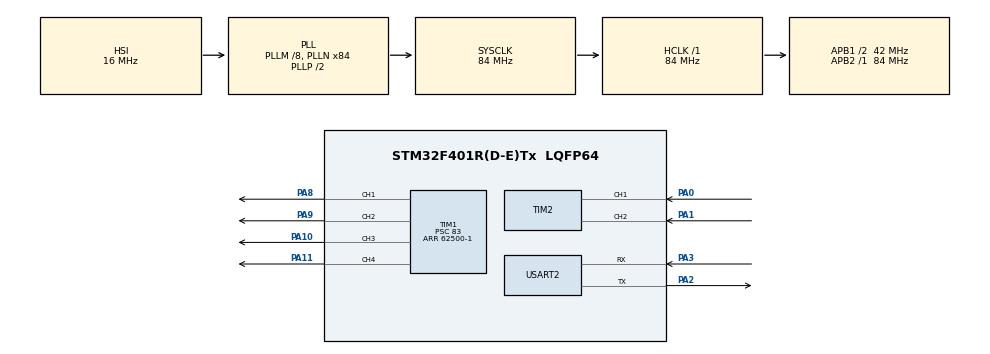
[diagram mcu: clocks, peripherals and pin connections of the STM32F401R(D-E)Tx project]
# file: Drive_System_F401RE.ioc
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Dma.Request0=USART2_RX
Dma.USART2_RX.0.Direction=DMA_PERIPH_TO_MEMORY
Dma.USART2_RX.0.FIFOMode=DMA_FIFOMODE_DISABLE
Dma.USART2_RX.0.Instance=DMA1_Stream5
Dma.USART2_RX.0.MemDataAlignment=DMA_MDATAALIGN_BYTE
Dma.USART2_RX.0.MemInc=DMA_MINC_ENABLE
Dma.USART2_RX.0.Mode=DMA_CIRCULAR
Dma.USART2_RX.0.PeriphDataAlignment=DMA_PDATAALIGN_BYTE
Dma.USART2_RX.0.PeriphInc=DMA_PINC_DISABLE
Dma.USART2_RX.0.Priority=DMA_PRIORITY_HIGH
Mcu.Family=STM32F4
Mcu.Name=STM32F401R(D-E)Tx
Mcu.Package=LQFP64
NVIC.DMA1_Stream5_IRQn=true\:0\:0\:false\:false\:true\:false\:true\:true
NVIC.PriorityGroup=NVIC_PRIORITYGROUP_4
NVIC.TIM2_IRQn=true\:0\:0\:false\:false\:true\:true\:true\:true
PA0-WKUP.Signal=S_TIM2_CH1_ETR
PA1.Signal=S_TIM2_CH2
PA10.Signal=S_TIM1_CH3
PA11.Signal=S_TIM1_CH4
PA2.Mode=Asynchronous
PA2.Signal=USART2_TX
PA3.Mode=Asynchronous
PA3.Signal=USART2_RX
PA8.Signal=S_TIM1_CH1
PA9.Signal=S_TIM1_CH2
ProjectManager.HeapSize=0x200
ProjectManager.StackSize=0x400
ProjectManager.TargetToolchain=STM32CubeIDE
RCC.48MHZClocksFreq_Value=42000000
RCC.AHBFreq_Value=84000000
RCC.APB1CLKDivider=RCC_HCLK_DIV2
RCC.APB1Freq_Value=42000000
RCC.APB1TimFreq_Value=84000000
RCC.APB2Freq_Value=84000000
RCC.APB2TimFreq_Value=84000000
RCC.CortexFreq_Value=84000000
RCC.HCLKFreq_Value=84000000
RCC.HSE_VALUE=25000000
RCC.HSI_VALUE=16000000
RCC.LSE_VALUE=32768
RCC.PLLM=8
RCC.PLLN=84
RCC.SYSCLKFreq_VALUE=84000000
RCC.SYSCLKSource=RCC_SYSCLKSOURCE_PLLCLK
RCC.VCOOutputFreq_Value=168000000
SH.S_TIM1_CH1.0=TIM1_CH1,PWM Generation1 CH1
SH.S_TIM1_CH2.0=TIM1_CH2,PWM Generation2 CH2
SH.S_TIM1_CH3.0=TIM1_CH3,PWM Generation3 CH3
SH.S_TIM1_CH4.0=TIM1_CH4,PWM Generation4 CH4
SH.S_TIM2_CH1_ETR.0=TIM2_CH1,Encoder_Interface
SH.S_TIM2_CH2.0=TIM2_CH2,Encoder_Interface
TIM1.Channel-PWM\ Generation1\ CH1=TIM_CHANNEL_1
TIM1.Channel-PWM\ Generation2\ CH2=TIM_CHANNEL_2
TIM1.Channel-PWM\ Generation3\ CH3=TIM_CHANNEL_3
TIM1.Channel-PWM\ Generation4\ CH4=TIM_CHANNEL_4
TIM1.Period=62500-1
TIM1.Prescaler=83
USART2.VirtualMode=VM_ASYNC
board=custom

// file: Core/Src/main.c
/* USER CODE BEGIN Header */
/**
  ******************************************************************************
  * @file           : main.c
  * @brief          : Main program body
  ******************************************************************************
  * @attention
  *
  * Copyright (c) 2022 STMicroelectronics.
  * All rights reserved.
  *
  * This software is licensed under terms that can be found in the LICENSE file
  * in the root directory of this software component.
  * If no LICENSE file comes with this software, it is provided AS-IS.
  *
  ******************************************************************************
  */
/* USER CODE END Header */
#include "main.h"

/* USER CODE BEGIN Includes */
#include "DC_MOTORS.h"
#include "stdlib.h"
/* USER CODE END Includes */

TIM_HandleTypeDef htim1;
TIM_HandleTypeDef htim2;

UART_HandleTypeDef huart2;
DMA_HandleTypeDef hdma_usart2_rx;

void SystemClock_Config(void);
static void MX_GPIO_Init(void);
static void MX_DMA_Init(void);
static void MX_TIM1_Init(void);
static void MX_USART2_UART_Init(void);
static void MX_TIM2_Init(void);

/* USER CODE BEGIN 0 */

uint8_t rxbuff[8];
uint8_t txempty;
uint8_t rxfull;

int32_t linear_number;
int32_t angular_number;

int16_t linear_pwm_value=0;
int16_t angular_pwm_value=0;

int16_t speed_left = 0;
int16_t speed_right = 0;

uint32_t encoderCounter = 0;

void HAL_UART_RxCpltCallback(UART_HandleTypeDef *huart){
  if (huart == &huart2)
  {
    rxfull = 1;
  }
}

void HAL_TIM_IC_CaptureCallback(TIM_HandleTypeDef *htim){

	encoderCounter = __HAL_TIM_GET_COUNTER(htim);

}

/* USER CODE END 0 */

int main(void)
{

  /* MCU Configuration--------------------------------------------------------*/

  /* Reset of all peripherals, Initializes the Flash interface and the Systick. */
  HAL_Init();

  /* Configure the system clock */
  SystemClock_Config();

  /* Initialize all configured peripherals */
  MX_GPIO_Init();
  MX_DMA_Init();
  MX_TIM1_Init();
  MX_USART2_UART_Init();
  MX_TIM2_Init();
  /* USER CODE BEGIN 2 */
  HAL_TIM_PWM_Start(&htim1, TIM_CHANNEL_1);
  HAL_TIM_PWM_Start(&htim1, TIM_CHANNEL_2);
  HAL_TIM_PWM_Start(&htim1, TIM_CHANNEL_3);
  HAL_TIM_PWM_Start(&htim1, TIM_CHANNEL_4);

  HAL_TIM_Encoder_Start_IT(&htim2, TIM_CHANNEL_ALL);

  HAL_UART_Receive_DMA(&huart2, rxbuff, 8);
  rxfull = 0;

  /* USER CODE END 2 */

  /* Infinite loop */
  while (1)
  {

    /* USER CODE BEGIN 3 */
      if (rxfull == 1){
        rxfull = 0;
        linear_number = (int32_t)(rxbuff[0]<<24) + (int32_t)(rxbuff[1]<<16) + (int32_t)(rxbuff[2]<<8) + rxbuff[3];
        angular_number = (int32_t)(rxbuff[4]<<24) + (int32_t)(rxbuff[5]<<16) + (int32_t)(rxbuff[6]<<8) + rxbuff[7];

        linear_pwm_value = (linear_number/12500);
        angular_pwm_value = (angular_number/12500);

        //	0,2,4,6 IN1 for forward
        //	1,3,5,7 IN2 for backward

        //  Left (+) a. vel.		Right (-) a. vel.

        //	Pin_B 0,1 ||------|| Pin_B 4,5
        //	   	         |  |
        //		         |  |
        //	Pin_B 2,3 ||------|| Pin_B 6,7

		speed_left = (linear_pwm_value - angular_pwm_value) + 1525;
		speed_right = (linear_pwm_value + angular_pwm_value) + 1525;

        DC_Control(linear_pwm_value, angular_pwm_value,&htim1);
      }
  }
  /* USER CODE END 3 */
}

void SystemClock_Config(void)
{
  RCC_OscInitTypeDef RCC_OscInitStruct = {0};
  RCC_ClkInitTypeDef RCC_ClkInitStruct = {0};

  /** Configure the main internal regulator output voltage
  */
  __HAL_RCC_PWR_CLK_ENABLE();
  __HAL_PWR_VOLTAGESCALING_CONFIG(PWR_REGULATOR_VOLTAGE_SCALE2);
  /** Initializes the RCC Oscillators according to the specified parameters
  * in the RCC_OscInitTypeDef structure.
  */
  RCC_OscInitStruct.OscillatorType = RCC_OSCILLATORTYPE_HSI;
  RCC_OscInitStruct.HSIState = RCC_HSI_ON;
  RCC_OscInitStruct.HSICalibrationValue = RCC_HSICALIBRATION_DEFAULT;
  RCC_OscInitStruct.PLL.PLLState = RCC_PLL_ON;
  RCC_OscInitStruct.PLL.PLLSource = RCC_PLLSOURCE_HSI;
  RCC_OscInitStruct.PLL.PLLM = 8;
  RCC_OscInitStruct.PLL.PLLN = 84;
  RCC_OscInitStruct.PLL.PLLP = RCC_PLLP_DIV2;
  RCC_OscInitStruct.PLL.PLLQ = 4;
  if (HAL_RCC_OscConfig(&RCC_OscInitStruct) != HAL_OK)
  {
    Error_Handler();
  }
  /** Initializes the CPU, AHB and APB buses clocks
  */
  RCC_ClkInitStruct.ClockType = RCC_CLOCKTYPE_HCLK|RCC_CLOCKTYPE_SYSCLK
                              |RCC_CLOCKTYPE_PCLK1|RCC_CLOCKTYPE_PCLK2;
  RCC_ClkInitStruct.SYSCLKSource = RCC_SYSCLKSOURCE_PLLCLK;
  RCC_ClkInitStruct.AHBCLKDivider = RCC_SYSCLK_DIV1;
  RCC_ClkInitStruct.APB1CLKDivider = RCC_HCLK_DIV2;
  RCC_ClkInitStruct.APB2CLKDivider = RCC_HCLK_DIV1;

  if (HAL_RCC_ClockConfig(&RCC_ClkInitStruct, FLASH_LATENCY_2) != HAL_OK)
  {
    Error_Handler();
  }
}

static void MX_TIM1_Init(void)
{

  TIM_MasterConfigTypeDef sMasterConfig = {0};
  TIM_OC_InitTypeDef sConfigOC = {0};
  TIM_BreakDeadTimeConfigTypeDef sBreakDeadTimeConfig = {0};

  htim1.Instance = TIM1;
  htim1.Init.Prescaler = 83;
  htim1.Init.CounterMode = TIM_COUNTERMODE_UP;
  htim1.Init.Period = 62500-1;
  htim1.Init.ClockDivision = TIM_CLOCKDIVISION_DIV1;
  htim1.Init.RepetitionCounter = 0;
  htim1.Init.AutoReloadPreload = TIM_AUTORELOAD_PRELOAD_DISABLE;
  if (HAL_TIM_PWM_Init(&htim1) != HAL_OK)
  {
    Error_Handler();
  }
  sMasterConfig.MasterOutputTrigger = TIM_TRGO_RESET;
  sMasterConfig.MasterSlaveMode = TIM_MASTERSLAVEMODE_DISABLE;
  if (HAL_TIMEx_MasterConfigSynchronization(&htim1, &sMasterConfig) != HAL_OK)
  {
    Error_Handler();
  }
  sConfigOC.OCMode = TIM_OCMODE_PWM1;
  sConfigOC.Pulse = 0;
  sConfigOC.OCPolarity = TIM_OCPOLARITY_HIGH;
  sConfigOC.OCNPolarity = TIM_OCNPOLARITY_HIGH;
  sConfigOC.OCFastMode = TIM_OCFAST_DISABLE;
  sConfigOC.OCIdleState = TIM_OCIDLESTATE_RESET;
  sConfigOC.OCNIdleState = TIM_OCNIDLESTATE_RESET;
  if (HAL_TIM_PWM_ConfigChannel(&htim1, &sConfigOC, TIM_CHANNEL_1) != HAL_OK)
  {
    Error_Handler();
  }
  if (HAL_TIM_PWM_ConfigChannel(&htim1, &sConfigOC, TIM_CHANNEL_2) != HAL_OK)
  {
    Error_Handler();
  }
  if (HAL_TIM_PWM_ConfigChannel(&htim1, &sConfigOC, TIM_CHANNEL_3) != HAL_OK)
  {
    Error_Handler();
  }
  if (HAL_TIM_PWM_ConfigChannel(&htim1, &sConfigOC, TIM_CHANNEL_4) != HAL_OK)
  {
    Error_Handler();
  }
  sBreakDeadTimeConfig.OffStateRunMode = TIM_OSSR_DISABLE;
  sBreakDeadTimeConfig.OffStateIDLEMode = TIM_OSSI_DISABLE;
  sBreakDeadTimeConfig.LockLevel = TIM_LOCKLEVEL_OFF;
  sBreakDeadTimeConfig.DeadTime = 0;
  sBreakDeadTimeConfig.BreakState = TIM_BREAK_DISABLE;
  sBreakDeadTimeConfig.BreakPolarity = TIM_BREAKPOLARITY_HIGH;
  sBreakDeadTimeConfig.AutomaticOutput = TIM_AUTOMATICOUTPUT_DISABLE;
  if (HAL_TIMEx_ConfigBreakDeadTime(&htim1, &sBreakDeadTimeConfig) != HAL_OK)
  {
    Error_Handler();
  }
  HAL_TIM_MspPostInit(&htim1);

}

static void MX_TIM2_Init(void)
{

  TIM_Encoder_InitTypeDef sConfig = {0};
  TIM_MasterConfigTypeDef sMasterConfig = {0};

  htim2.Instance = TIM2;
  htim2.Init.Prescaler = 0;
  htim2.Init.CounterMode = TIM_COUNTERMODE_UP;
  htim2.Init.Period = 4294967295;
  htim2.Init.ClockDivision = TIM_CLOCKDIVISION_DIV1;
  htim2.Init.AutoReloadPreload = TIM_AUTORELOAD_PRELOAD_DISABLE;
  sConfig.EncoderMode = TIM_ENCODERMODE_TI1;
  sConfig.IC1Polarity = TIM_ICPOLARITY_RISING;
  sConfig.IC1Selection = TIM_ICSELECTION_DIRECTTI;
  sConfig.IC1Prescaler = TIM_ICPSC_DIV1;
  sConfig.IC1Filter = 0;
  sConfig.IC2Polarity = TIM_ICPOLARITY_RISING;
  sConfig.IC2Selection = TIM_ICSELECTION_DIRECTTI;
  sConfig.IC2Prescaler = TIM_ICPSC_DIV1;
  sConfig.IC2Filter = 0;
  if (HAL_TIM_Encoder_Init(&htim2, &sConfig) != HAL_OK)
  {
    Error_Handler();
  }
  sMasterConfig.MasterOutputTrigger = TIM_TRGO_RESET;
  sMasterConfig.MasterSlaveMode = TIM_MASTERSLAVEMODE_DISABLE;
  if (HAL_TIMEx_MasterConfigSynchronization(&htim2, &sMasterConfig) != HAL_OK)
  {
    Error_Handler();
  }

}

static void MX_USART2_UART_Init(void)
{

  huart2.Instance = USART2;
  huart2.Init.BaudRate = 115200;
  huart2.Init.WordLength = UART_WORDLENGTH_8B;
  huart2.Init.StopBits = UART_STOPBITS_1;
  huart2.Init.Parity = UART_PARITY_NONE;
  huart2.Init.Mode = UART_MODE_TX_RX;
  huart2.Init.HwFlowCtl = UART_HWCONTROL_NONE;
  huart2.Init.OverSampling = UART_OVERSAMPLING_16;
  if (HAL_UART_Init(&huart2) != HAL_OK)
  {
    Error_Handler();
  }

}

static void MX_DMA_Init(void)
{

  /* DMA controller clock enable */
  __HAL_RCC_DMA1_CLK_ENABLE();

  /* DMA interrupt init */
  /* DMA1_Stream5_IRQn interrupt configuration */
  HAL_NVIC_SetPriority(DMA1_Stream5_IRQn, 0, 0);
  HAL_NVIC_EnableIRQ(DMA1_Stream5_IRQn);

}

static void MX_GPIO_Init(void)
{

  /* GPIO Ports Clock Enable */
  __HAL_RCC_GPIOA_CLK_ENABLE();

}

void Error_Handler(void)
{
  __disable_irq();
  while (1)
  {
  }
}
